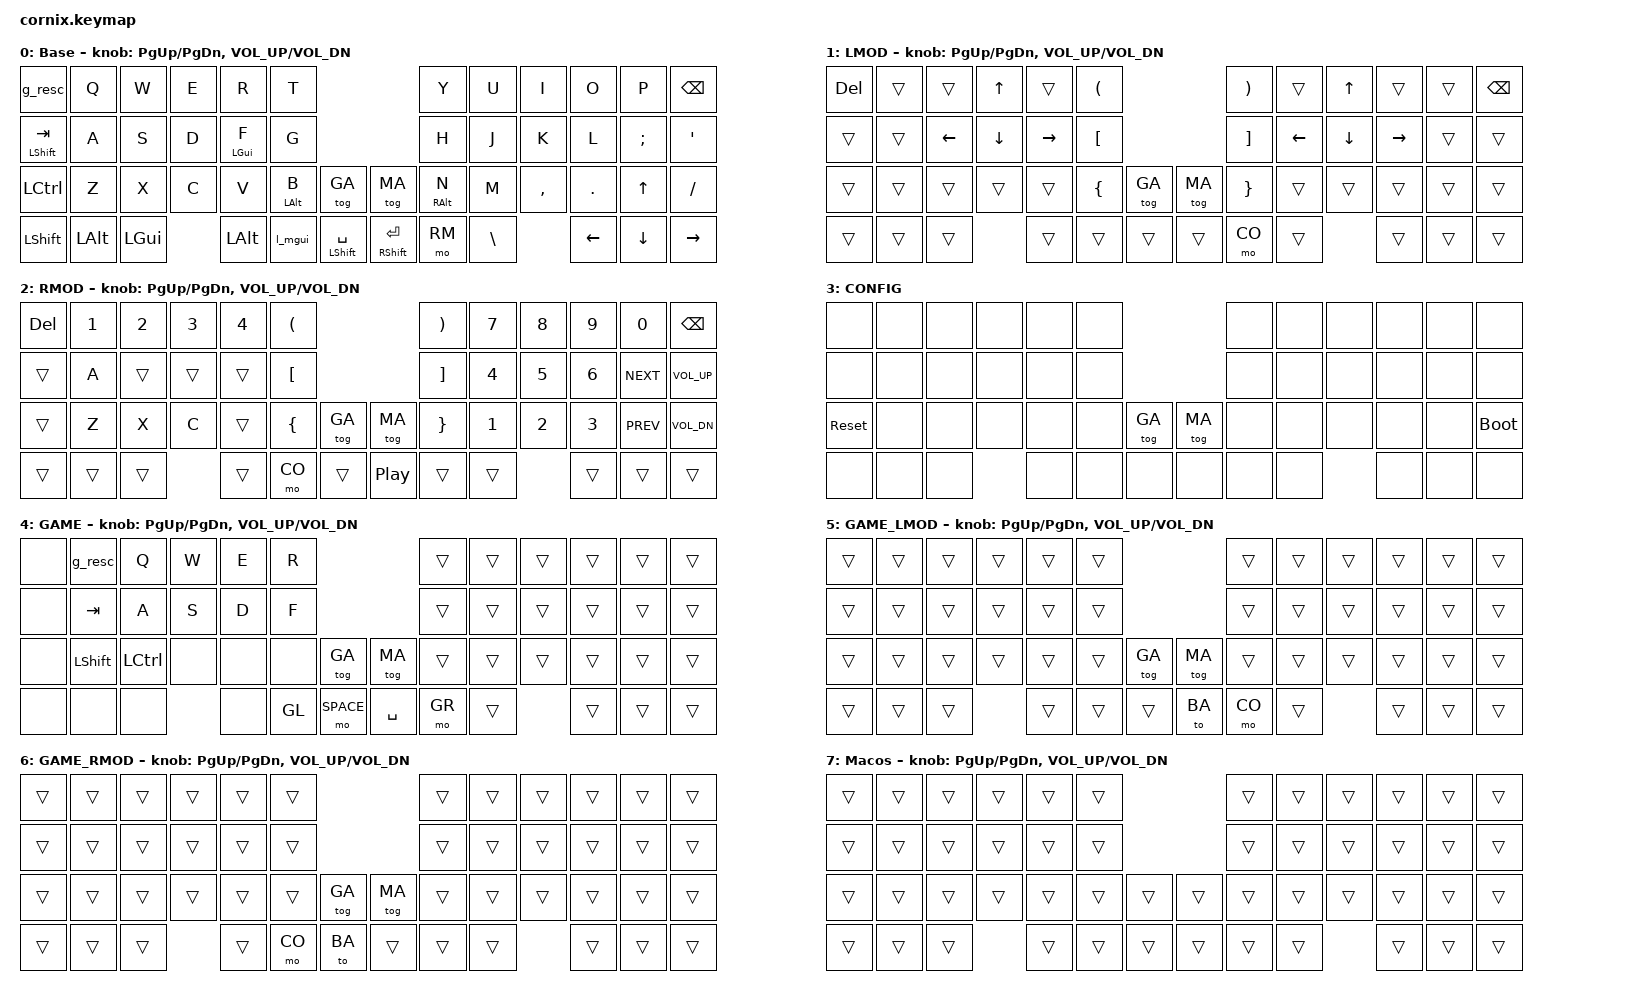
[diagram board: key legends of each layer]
#include "zmk-helpers/helper.h"
#include "includes/cornix54.h"
#include <behaviors.dtsi>
#include <dt-bindings/zmk/keys.h>
#include <dt-bindings/zmk/bt.h>
#include <dt-bindings/zmk/ext_power.h>
#include <dt-bindings/zmk/pointing.h>
#include <dt-bindings/zmk/outputs.h>

#define Base        0
#define LMOD        1
#define RMOD        2
#define CONFIG      3
#define GAME        4
#define GAME_LMOD   5
#define GAME_RMOD   6
#define MACOS       7

#define BA          0
#define LM          1
#define RM          2
#define CO          3
#define GA          4
#define GL          5
#define GR          6
#define MA          7


&mt {
    quick-tap-ms = <100>;
    global-quick-tap;
    flavor = "tap-preferred";
    tapping-term-ms = <170>;
};

&lt {
    tapping-term-ms = <240>;
    flavor = "balanced";
    quick-tap-ms = <150>;
};

/ {
    behaviors {
        hm: homerow_mods {
            compatible = "zmk,behavior-hold-tap";
            label = "HOMEROW_MODS";
            #binding-cells = <2>;
            flavor = "tap-preferred";
            tapping-term-ms = <200>;
            quick-tap-ms = <125>;
            global-quick-tap;
            bindings = <&kp>, <&kp>;
        };
        g_resc: grave_escape {
            compatible = "zmk,behavior-mod-morph";
            #binding-cells = <0>;
            bindings = <&kp ESC>, <&kp GRAVE>;
            mods = <(MOD_LCTL|MOD_LGUI|MOD_RCTL|MOD_RGUI)>;
        };
        l_cgui: left_ctrl_gui {
            compatible = "zmk,behavior-tap-dance";
            #binding-cells = <0>;
            tapping-term-ms = <200>;
            bindings = <&kp LCTRL>, <&kp LGUI>;
        };
        l_mgui: left_mod_gui {
            compatible = "zmk,behavior-tap-dance";
            #binding-cells = <0>;
            tapping-term-ms = <200>;
            bindings = <&mo LM>, <&kp LGUI>;
        };
    };
    macros {
      tri_mod_macro: tri_mod_macro {
        compatible = "zmk,behavior-macro";
        #binding-cells = <0>;
        wait-ms = <0>;
        tap-ms = <0>;
        bindings = <&macro_press &kp LCTRL &kp LALT &kp LGUI>,
          <&macro_pause_for_release>,
          <&macro_release &kp LCTRL &kp LALT &kp LGUI>;
      };
    };
// Reference (cornix 50-key layout)
//          00              01              02              03              04              05                                              06              07              08              09              10              11
//          12              13              14              15              16              17                                              18              19              20              21              22              23
//          24              25              26              27              28              29              30             31               32              33              34              35              36              37
//          38              39              40                              41              42              43             44               45              46                              47              48              49
    combos {
      compatible = "zmk,combos";
      combo_esc {
        timeout-ms = <30>;
        key-positions = <0 1>;
        bindings = <&kp GRAVE>;
      };
      combo_minus {
        timeout-ms = <30>;
        key-positions = <6 7>;
        bindings = <&kp MINUS>;
      };
      combo_equal {
        timeout-ms = <30>;
        key-positions = <7 8>;
        bindings = <&kp EQUAL>;
      };
      combo_rgui {
        timeout-ms = <30>;
        key-positions = <32 33>;
        bindings = <&kp RGUI>;
      };
      combo_lgui_central {
        timeout-ms = <30>;
        key-positions = <42 43>;
        bindings = <&kp LGUI>;
      };
      combo_to_base {
        timeout-ms = <30>;
        key-positions = <30 31>;
        bindings = <&to BA>;
      };
      combo_cut {
        timeout-ms = <30>;
        key-positions = <25 26>;
        layers = <BA>;
        bindings = <&kp LC(X)>;
      };
      combo_copy {
        timeout-ms = <30>;
        key-positions = <26 27>;
        layers = <BA>;
        bindings = <&kp LC(C)>;
      };
      combo_paste {
        timeout-ms = <30>;
        key-positions = <27 28>;
        layers = <BA>;
        bindings = <&kp LC(V)>;
      };
      combo_cut_mac {
        timeout-ms = <30>;
        key-positions = <25 26>;
        layers = <MA>;
        bindings = <&kp LG(X)>;
      };
      combo_copy_mac {
        timeout-ms = <30>;
        key-positions = <26 27>;
        layers = <MA>;
        bindings = <&kp LG(C)>;
      };
      combo_paste_mac {
        timeout-ms = <30>;
        key-positions = <27 28>;
        layers = <MA>;
        bindings = <&kp LG(V)>;
      };
      combo_ctrl_alt_gui {
        timeout-ms = <30>;
        key-positions = <24 25 26>;
        bindings = <&tri_mod_macro>;
      };
    };
// Reference (cornix 50-key layout)
//          00              01              02              03              04              05                                              06              07              08              09              10              11
//          12              13              14              15              16              17                                              18              19              20              21              22              23
//          24              25              26              27              28              29              30             31               32              33              34              35              36              37
//          38              39              40                              41              42              43             44               45              46                              47              48              49

    keymap {
        compatible = "zmk,keymap";

        Base {
            display-name = "Base";
            bindings = <
            &g_resc         &kp Q           &kp W           &kp E           &kp R           &kp T                                           &kp Y           &kp U           &kp I           &kp O           &kp P           &kp BSPC
            &mt LSHIFT TAB  &kp A           &kp S           &kp D           &mt LGUI F      &kp G                                           &kp H           &kp J           &kp K           &kp L           &kp SEMI        &kp SQT
            &kp LCTRL       &kp Z           &kp X           &kp C           &kp V           &mt LALT B      &tog GA         &tog MA         &mt RALT N      &kp M           &kp COMMA       &kp DOT         &kp UP          &kp FSLH
            &kp LSHIFT      &kp LALT        &kp LGUI                        &kp LALT        &l_mgui         &mt LSHFT SPACE &mt RSHFT RET   &mo RM          &kp BSLH                        &kp LEFT        &kp DOWN        &kp RIGHT
            >;
            sensor-bindings = <&inc_dec_kp PG_UP PG_DN &inc_dec_kp C_VOL_UP C_VOL_DN>;
        };

        LMOD {
            display-name = "LMOD";
            bindings = <
            &kp DEL         &trans          &trans          &kp UP          &trans          &kp LPAR                                        &kp RPAR        &trans          &kp UP          &trans          &trans          &kp BSPC
            &trans          &trans          &kp LEFT        &kp DOWN        &kp RIGHT       &kp LBKT                                        &kp RBKT        &kp LEFT        &kp DOWN        &kp RIGHT       &trans          &trans
            &trans          &trans          &trans          &trans          &trans          &kp LBRC        &tog GA         &tog MA         &kp RBRC        &trans          &trans          &trans          &trans          &trans
            &trans          &trans          &trans                          &trans          &trans          &trans          &trans          &mo CO          &trans                          &trans          &trans          &trans
            >;
            sensor-bindings = <&inc_dec_kp PG_UP PG_DN &inc_dec_kp C_VOL_UP C_VOL_DN>;
        };

        RMOD {
            display-name = "RMOD";
            bindings = <
            &kp DEL         &kp N1          &kp N2          &kp N3          &kp N4          &kp LPAR                                        &kp RPAR        &kp N7          &kp N8          &kp N9          &kp N0          &kp BSPC
            &trans          &kp A           &trans          &trans          &trans          &kp LBKT                                        &kp RBKT        &kp N4          &kp N5          &kp N6          &kp C_NEXT      &kp C_VOL_UP
            &trans          &kp Z           &kp X           &kp C           &trans          &kp LBRC        &tog GA         &tog MA         &kp RBRC        &kp N1          &kp N2          &kp N3          &kp C_PREV      &kp C_VOL_DN
            &trans          &trans          &trans                          &trans          &mo CO          &trans          &kp C_PP        &trans          &trans                          &trans          &trans          &trans
            >;
            sensor-bindings = <&inc_dec_kp PG_UP PG_DN &inc_dec_kp C_VOL_UP C_VOL_DN>;
        };

        CONFIG {
            display-name = "CONFIG";
            bindings = <
            &none           &none           &none           &none           &none           &none                                           &none           &none           &none           &none           &none           &none
            &none           &none           &none           &none           &none           &none                                           &none           &none           &none           &none           &none           &none
            &sys_reset      &none           &none           &none           &none           &none           &tog GA         &tog MA         &none           &none           &none           &none           &none           &bootloader
            &none           &none           &none                           &none           &none           &none           &none           &none           &none                           &none           &none           &none
            >;
        };

        GAME {
            display-name = "GAME";
            bindings = <
            &none           &g_resc         &kp Q           &kp W           &kp E           &kp R                                           &trans          &trans          &trans          &trans          &trans          &trans
            &none           &kp TAB         &kp A           &kp S           &kp D           &kp F                                           &trans          &trans          &trans          &trans          &trans          &trans
            &none           &kp LSHIFT      &kp LCTRL       &none           &none           &none           &tog GA         &tog MA         &trans          &trans          &trans          &trans          &trans          &trans
            &none           &none           &none                           &none           &kp GL          &mo SPACE       &kp SPACE       &mo GR          &trans                          &trans          &trans          &trans
            >;
            sensor-bindings = <&inc_dec_kp PG_UP PG_DN &inc_dec_kp C_VOL_UP C_VOL_DN>;
        };

        GAME_LMOD {
            display-name = "GAME_LMOD";
            bindings = <
            &trans          &trans          &trans          &trans          &trans          &trans                                          &trans          &trans          &trans          &trans          &trans          &trans
            &trans          &trans          &trans          &trans          &trans          &trans                                          &trans          &trans          &trans          &trans          &trans          &trans
            &trans          &trans          &trans          &trans          &trans          &trans          &tog GA         &tog MA         &trans          &trans          &trans          &trans          &trans          &trans
            &trans          &trans          &trans                          &trans          &trans          &trans          &to BA          &mo CO          &trans                          &trans          &trans          &trans
            >;
            sensor-bindings = <&inc_dec_kp PG_UP PG_DN &inc_dec_kp C_VOL_UP C_VOL_DN>;
        };

        GAME_RMOD {
            display-name = "GAME_RMOD";
            bindings = <
            &trans          &trans          &trans          &trans          &trans          &trans                                          &trans          &trans          &trans          &trans          &trans          &trans
            &trans          &trans          &trans          &trans          &trans          &trans                                          &trans          &trans          &trans          &trans          &trans          &trans
            &trans          &trans          &trans          &trans          &trans          &trans          &tog GA         &tog MA         &trans          &trans          &trans          &trans          &trans          &trans
            &trans          &trans          &trans                          &trans          &mo CO          &to BA          &trans          &trans          &trans                          &trans          &trans          &trans
            >;
            sensor-bindings = <&inc_dec_kp PG_UP PG_DN &inc_dec_kp C_VOL_UP C_VOL_DN>;
        };

        MACOS {
            display-name = "Macos";
            bindings = <
            &trans          &trans          &trans          &trans          &trans          &trans                                          &trans          &trans          &trans          &trans          &trans          &trans
            &trans          &trans          &trans          &trans          &trans          &trans                                          &trans          &trans          &trans          &trans          &trans          &trans
            &trans          &trans          &trans          &trans          &trans          &trans          &trans          &trans          &trans          &trans          &trans          &trans          &trans          &trans
            &trans          &trans          &trans                          &trans          &trans          &trans          &trans          &trans          &trans                          &trans          &trans          &trans
            >;
            sensor-bindings = <&inc_dec_kp PG_UP PG_DN &inc_dec_kp C_VOL_UP C_VOL_DN>;
        };
    };
};
